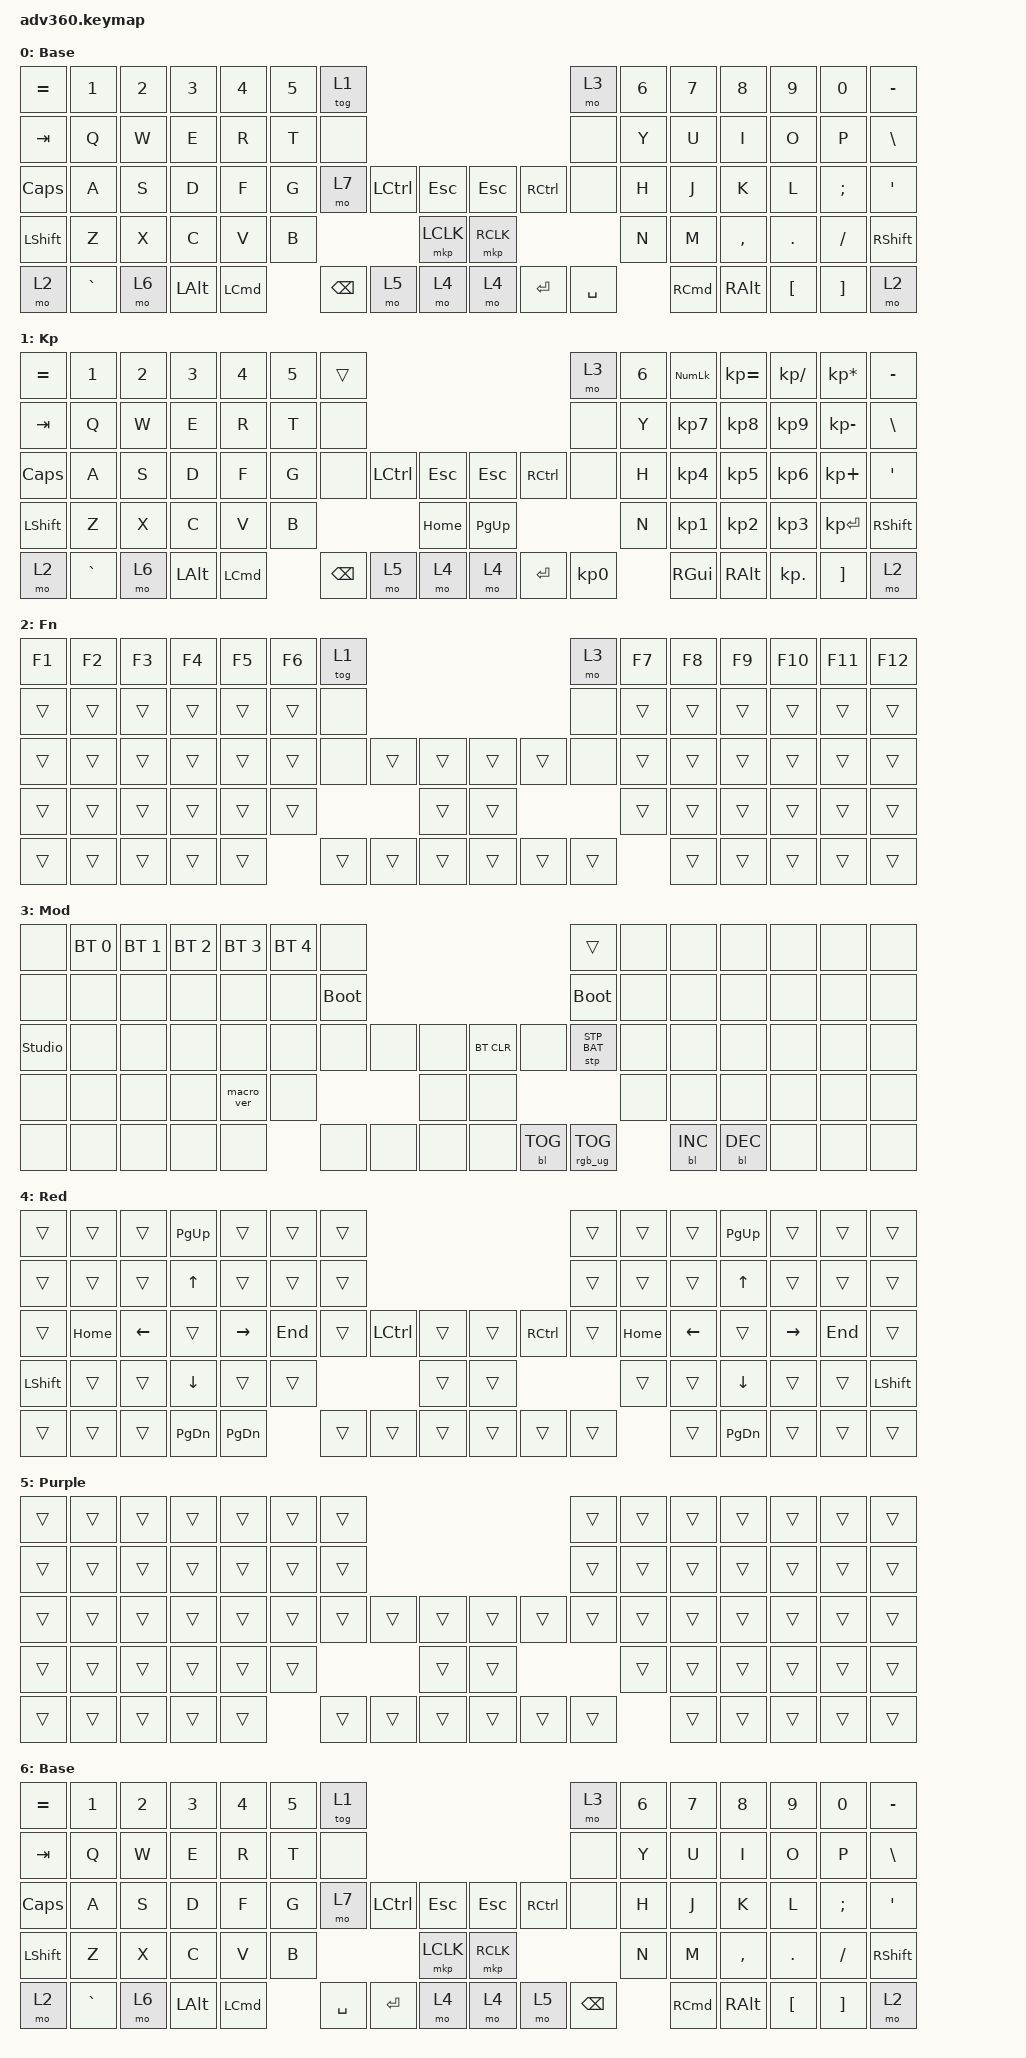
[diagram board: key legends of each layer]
#include <dt-bindings/zmk/stp.h>
#include <behaviors.dtsi>
#include <dt-bindings/zmk/backlight.h>
#include <dt-bindings/zmk/bt.h>
#include <dt-bindings/zmk/keys.h>
#include <dt-bindings/zmk/pointing.h>
#include <dt-bindings/zmk/rgb.h>

/ {
    behaviors {
        #include "macros.dtsi"
      #include "version.dtsi"

        hm: homerow_mods {
            compatible = "zmk,behavior-hold-tap";
            label = "HOMEROW_MODS";
            #binding-cells = <2>;
            tapping-term-ms = <200>;
            quick_tap_ms = <175>;
            flavor = "tap-preferred";
            bindings = <&kp>, <&kp>;
        };
    };

    combos {
        compatible = "zmk,combos";

        LeftSpace {
            bindings = <&kp SPACE>;
            key-positions = <62 65>;
        };

        LeftEnter {
            bindings = <&kp RETURN>;
            key-positions = <62 66>;
        };
    };

    keymap {
        compatible = "zmk,keymap";

        default_layer {
            display-name = "Base";
            bindings = <
&kp EQUAL     &kp N1     &kp N2  &kp N3        &kp N4    &kp N5  &tog 1                                                      &mo 3      &kp N6  &kp N7    &kp N8         &kp N9    &kp N0    &kp MINUS
&kp TAB       &kp Q      &kp W   &kp E         &kp R     &kp T   &none                                                       &none      &kp Y   &kp U     &kp I          &kp O     &kp P     &kp BSLH
&kp CAPSLOCK  &kp A      &kp S   &kp D         &kp F     &kp G   &mo 7     &kp LCTRL  &kp ESCAPE      &kp ESCAPE  &kp RCTRL  &none      &kp H   &kp J     &kp K          &kp L     &kp SEMI  &kp SQT
&kp LSHFT     &kp Z      &kp X   &kp C         &kp V     &kp B                        &mkp LCLK       &mkp RCLK                         &kp N   &kp M     &kp COMMA      &kp DOT   &kp FSLH  &kp RSHFT
&mo 2         &kp GRAVE  &mo 6   &kp LEFT_ALT  &kp LCMD          &kp BSPC  &mo 5      &mo 4           &mo 4       &kp ENTER  &kp SPACE          &kp RCMD  &kp RIGHT_ALT  &kp LBKT  &kp RBKT  &mo 2
            >;
        };

        keypad {
            display-name = "Kp";
            bindings = <
&kp EQUAL  &kp N1     &kp N2  &kp N3        &kp N4    &kp N5  &trans                                                      &mo 3      &kp N6  &kp KP_NUM     &kp KP_EQUAL   &kp KP_DIVIDE  &kp KP_MULTIPLY  &kp MINUS
&kp TAB    &kp Q      &kp W   &kp E         &kp R     &kp T   &none                                                       &none      &kp Y   &kp KP_N7      &kp KP_N8      &kp KP_N9      &kp KP_MINUS     &kp BSLH
&kp CAPS   &kp A      &kp S   &kp D         &kp F     &kp G   &none     &kp LCTRL  &kp ESCAPE      &kp ESCAPE  &kp RCTRL  &none      &kp H   &kp KP_N4      &kp KP_N5      &kp KP_N6      &kp KP_PLUS      &kp SQT
&kp LSHFT  &kp Z      &kp X   &kp C         &kp V     &kp B                        &kp HOME        &kp PG_UP                         &kp N   &kp KP_N1      &kp KP_N2      &kp KP_N3      &kp KP_ENTER     &kp RSHFT
&mo 2      &kp GRAVE  &mo 6   &kp LEFT_ALT  &kp LCMD          &kp BSPC  &mo 5      &mo 4           &mo 4       &kp ENTER  &kp KP_N0          &kp RIGHT_GUI  &kp RIGHT_ALT  &kp KP_DOT     &kp RBKT         &mo 2
            >;
        };

        fn {
            display-name = "Fn";
            bindings = <
&kp F1  &kp F2  &kp F3  &kp F4  &kp F5  &kp F6  &tog 1                                      &mo 3   &kp F7  &kp F8  &kp F9  &kp F10  &kp F11  &kp F12
&trans  &trans  &trans  &trans  &trans  &trans  &none                                       &none   &trans  &trans  &trans  &trans   &trans   &trans
&trans  &trans  &trans  &trans  &trans  &trans  &none   &trans  &trans      &trans  &trans  &none   &trans  &trans  &trans  &trans   &trans   &trans
&trans  &trans  &trans  &trans  &trans  &trans                  &trans      &trans                  &trans  &trans  &trans  &trans   &trans   &trans
&trans  &trans  &trans  &trans  &trans          &trans  &trans  &trans      &trans  &trans  &trans          &trans  &trans  &trans   &trans   &trans
            >;
        };

        mod {
            display-name = "Mod";
            bindings = <
&none           &bt BT_SEL 0  &bt BT_SEL 1  &bt BT_SEL 2  &bt BT_SEL 3  &bt BT_SEL 4  &none                                                  &trans           &none  &none       &none       &none  &none  &none
&none           &none         &none         &none         &none         &none         &bootloader                                            &bootloader      &none  &none       &none       &none  &none  &none
&studio_unlock  &none         &none         &none         &none         &none         &none        &none  &none      &bt BT_CLR  &none       &stp STP_BAT     &none  &none       &none       &none  &none  &none
&none           &none         &none         &none         &macro_ver    &none                             &none      &none                                    &none  &none       &none       &none  &none  &none
&none           &none         &none         &none         &none                       &none        &none  &none      &none       &bl BL_TOG  &rgb_ug RGB_TOG         &bl BL_INC  &bl BL_DEC  &none  &none  &none
            >;
        };

        Nav {
            display-name = "Red";
            bindings = <
&trans     &trans    &trans    &kp PG_UP  &trans     &trans   &trans                                            &trans  &trans    &trans    &kp PG_UP  &trans     &trans   &trans
&trans     &trans    &trans    &kp UP     &trans     &trans   &trans                                            &trans  &trans    &trans    &kp UP     &trans     &trans   &trans
&trans     &kp HOME  &kp LEFT  &trans     &kp RIGHT  &kp END  &trans  &kp LCTRL  &trans      &trans  &kp RCTRL  &trans  &kp HOME  &kp LEFT  &trans     &kp RIGHT  &kp END  &trans
&kp LSHFT  &trans    &trans    &kp DOWN   &trans     &trans                      &trans      &trans                     &trans    &trans    &kp DOWN   &trans     &trans   &kp LSHFT
&trans     &trans    &trans    &kp PG_DN  &kp PG_DN           &trans  &trans     &trans      &trans  &trans     &trans            &trans    &kp PG_DN  &trans     &trans   &trans
            >;
        };

        Sym {
            display-name = "Purple";
            bindings = <
&trans  &trans  &trans  &trans  &trans  &trans  &trans                                      &trans  &trans  &trans  &trans  &trans  &trans  &trans
&trans  &trans  &trans  &trans  &trans  &trans  &trans                                      &trans  &trans  &trans  &trans  &trans  &trans  &trans
&trans  &trans  &trans  &trans  &trans  &trans  &trans  &trans  &trans      &trans  &trans  &trans  &trans  &trans  &trans  &trans  &trans  &trans
&trans  &trans  &trans  &trans  &trans  &trans                  &trans      &trans                  &trans  &trans  &trans  &trans  &trans  &trans
&trans  &trans  &trans  &trans  &trans          &trans  &trans  &trans      &trans  &trans  &trans          &trans  &trans  &trans  &trans  &trans
            >;
        };

        mirrored_thumbs {
            display-name = "Base";
            bindings = <
&kp EQUAL     &kp N1     &kp N2  &kp N3        &kp N4    &kp N5  &tog 1                                                       &mo 3          &kp N6  &kp N7    &kp N8         &kp N9    &kp N0    &kp MINUS
&kp TAB       &kp Q      &kp W   &kp E         &kp R     &kp T   &none                                                        &none          &kp Y   &kp U     &kp I          &kp O     &kp P     &kp BSLH
&kp CAPSLOCK  &kp A      &kp S   &kp D         &kp F     &kp G   &mo 7      &kp LCTRL  &kp ESCAPE      &kp ESCAPE  &kp RCTRL  &none          &kp H   &kp J     &kp K          &kp L     &kp SEMI  &kp SQT
&kp LSHFT     &kp Z      &kp X   &kp C         &kp V     &kp B                         &mkp LCLK       &mkp RCLK                             &kp N   &kp M     &kp COMMA      &kp DOT   &kp FSLH  &kp RSHFT
&mo 2         &kp GRAVE  &mo 6   &kp LEFT_ALT  &kp LCMD          &kp SPACE  &kp ENTER  &mo 4           &mo 4       &mo 5      &kp BACKSPACE          &kp RCMD  &kp RIGHT_ALT  &kp LBKT  &kp RBKT  &mo 2
            >;
        };

        extra3 {
            display-name = "Cyan";
            status = "reserved";
        };

        extra4 {
            display-name = "Yellow";
            status = "reserved";
        };
    };
};
